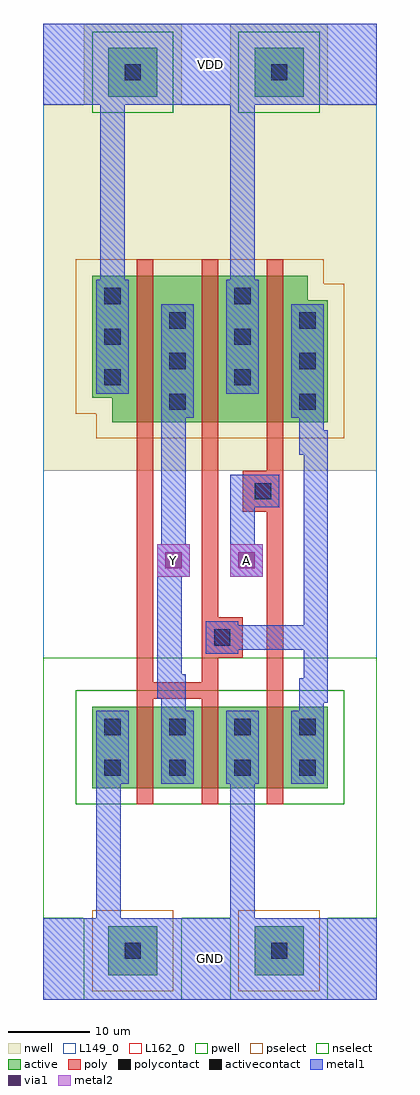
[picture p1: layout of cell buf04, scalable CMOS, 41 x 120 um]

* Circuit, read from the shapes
.subckt buf04 A GND VDD Y
M1 Y n1 GND GND nfet w=10u l=2u m=2
M2 n1 A GND GND nfet w=10u l=2u
M3 Y n1 VDD VDD pfet w=18u l=2u m=2
M4 n1 A VDD VDD pfet w=18u l=2u
.ends

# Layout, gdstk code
import gdstk
lib = gdstk.Library(unit=1e-6, precision=1e-09)
def R(c, l, rs):  # rectangles x0, y0, x1, y1
    for r in rs: c.add(gdstk.rectangle(r[:2], r[2:], *l))
def A(c, l, x, y, w, h, nx, ny, dx, dy):  # array of equal rectangles
    R(c, l, [(x+i*dx, y+j*dy, x+i*dx+w, y+j*dy+h) for i in range(nx) for j in range(ny)])
def P(c, l, *ps):  # polygons
    for p in ps: c.add(gdstk.Polygon(p, *l))
pwell = (41, 0)
nwell = (42, 0)
active = (43, 0)
pselect = (44, 0)
nselect = (45, 0)
poly = (46, 0)
polycontact = (47, 0)
activecontact = (48, 0)
metal1 = (49, 0)
via1 = (50, 0)
metal2 = (51, 0)
L149_0 = (149, 0)
L162_0 = (162, 0)

pwell_contact = lib.new_cell('pwell_contact')
R(pwell_contact, pwell, [(-6,-6,6,5)])
R(pwell_contact, active, [(-3,-3,3,3)])
R(pwell_contact, pselect, [(-5,-5,5,5)])
R(pwell_contact, activecontact, [(-1,-1,1,1)])

nwell_contact = lib.new_cell('nwell_contact')
R(nwell_contact, nwell, [(-6,-5,6,6)])
R(nwell_contact, active, [(-3,-3,3,3)])
R(nwell_contact, nselect, [(-5,-5,5,5)])
R(nwell_contact, activecontact, [(-1,-1,1,1)])

via = lib.new_cell('via')
R(via, metal1, [(-2,-2,2,2)])
R(via, via1, [(-1,-1,1,1)])
R(via, metal2, [(-2,-2,2,2)])

buf04 = lib.new_cell('buf04')
R(buf04, pwell, [(0,10,41,20), (0,10,41,42), (0,20,41,42)])
R(buf04, nwell, [(0,65,41,110), (0,95,41,110)])
P(buf04, nwell, [(2.5,65),(2.5,68),(0,68),(0,95),(38.5,95),(38.5,92),(41,92),(41,65)])
R(buf04, active, [(6,26,35,36)])
P(buf04, active, [(8.5,71),(8.5,74),(6,74),(6,89),(32.5,89),(32.5,86),(35,86),(35,71)])
P(buf04, pselect, [(6.5,69),(6.5,72),(4,72),(4,91),(34.5,91),(34.5,88),(37,88),(37,69)])
R(buf04, nselect, [(4,24,37,38)])
A(buf04, poly, 11.5, 24, 2, 2, 3, 2, 8, 12)
A(buf04, poly, 11.5, 26, 2, 10, 3, 1, 8, 0)
A(buf04, poly, 11.5, 69, 2, 2, 3, 2, 8, 20)
A(buf04, poly, 11.5, 71, 2, 18, 3, 1, 8, 0)
R(buf04, poly, [(19.5,42,24.5,47), (24.5,60,29.5,65)])
R(buf04, polycontact, [(21,43.5,23,45.5), (26,61.5,28,63.5)])
A(buf04, activecontact, 7.5, 27.5, 2, 2, 4, 2, 8, 5)
A(buf04, activecontact, 15.5, 72.5, 2, 2, 1, 3, 0, 5)
A(buf04, activecontact, 31.5, 72.5, 2, 2, 1, 3, 0, 5)
A(buf04, activecontact, 7.5, 75.5, 2, 2, 1, 3, 0, 5)
A(buf04, activecontact, 23.5, 75.5, 2, 2, 1, 3, 0, 5)
A(buf04, metal1, 6.5, 26.5, 4, 9, 4, 1, 8, 0)
R(buf04, metal1, [(0,0,41,10), (0,0,41,10), (20,42.5,24,46.5), (25,60.5,29,64.5), (14.5,71.5,18.5,85.5), (30.5,71.5,34.5,85.5), (6.5,74.5,10.5,88.5), (22.5,74.5,26.5,88.5), (0,110,41,120), (0,110,41,120)])
R(buf04, metal2, [(14,52,18,56), (23,52,27,56)])
R(buf04, L149_0, [(0,0,41,10), (0,0,41,120), (20,42.5,24,46.5), (25,60.5,29,64.5), (0,110,41,120)])
R(buf04, L162_0, [(14,52,18,56), (23,52,27,56)])
buf04.add(gdstk.FlexPath([(24.5,88.5),(24.5,110)], 3, ends="flush", simple_path=True, layer=149, datatype=0))  # L149_0
buf04.add(gdstk.FlexPath([(24.5,26.5),(24.5,10)], 3, ends="flush", simple_path=True, layer=149, datatype=0))  # L149_0
buf04.add(gdstk.FlexPath([(16,71.5),(16,54),(15.5,54),(15.5,38.5),(16,38.5),(16,35.5)], 3, ends="flush", simple_path=True, layer=149, datatype=0))  # L149_0
buf04.add(gdstk.FlexPath([(24.5,56),(24.5,64.5)], 3, ends="flush", simple_path=True, layer=149, datatype=0))  # L149_0
buf04.add(gdstk.FlexPath([(8,26.5),(8,10)], 3, ends="flush", simple_path=True, layer=149, datatype=0))  # L149_0
buf04.add(gdstk.FlexPath([(24,44.5),(32,44.5)], 3, ends="flush", simple_path=True, layer=149, datatype=0))  # L149_0
buf04.add(gdstk.FlexPath([(8.5,88.5),(8.5,110)], 3, ends="flush", simple_path=True, layer=149, datatype=0))  # L149_0
buf04.add(gdstk.FlexPath([(33,71.5),(33,68.5),(33.5,68.5),(33.5,38),(33,38),(33,35.5)], 3, ends="flush", simple_path=True, layer=149, datatype=0))  # L149_0
buf04.add(gdstk.FlexPath([(24.5,88.5),(24.5,110)], 3, ends="flush", simple_path=True, layer=49, datatype=0))  # metal1
buf04.add(gdstk.FlexPath([(24.5,26.5),(24.5,10)], 3, ends="flush", simple_path=True, layer=49, datatype=0))  # metal1
buf04.add(gdstk.FlexPath([(16,71.5),(16,54),(15.5,54),(15.5,38.5),(16,38.5),(16,35.5)], 3, ends="flush", simple_path=True, layer=49, datatype=0))  # metal1
buf04.add(gdstk.FlexPath([(24.5,56),(24.5,64.5)], 3, ends="flush", simple_path=True, layer=49, datatype=0))  # metal1
buf04.add(gdstk.FlexPath([(8,26.5),(8,10)], 3, ends="flush", simple_path=True, layer=49, datatype=0))  # metal1
buf04.add(gdstk.FlexPath([(24,44.5),(32,44.5)], 3, ends="flush", simple_path=True, layer=49, datatype=0))  # metal1
buf04.add(gdstk.FlexPath([(8.5,88.5),(8.5,110)], 3, ends="flush", simple_path=True, layer=49, datatype=0))  # metal1
buf04.add(gdstk.FlexPath([(33,71.5),(33,68.5),(33.5,68.5),(33.5,38),(33,38),(33,35.5)], 3, ends="flush", simple_path=True, layer=49, datatype=0))  # metal1
buf04.add(gdstk.FlexPath([(11.5,38),(21.5,38)], 2, ends="flush", simple_path=True, layer=46, datatype=0))  # poly
buf04.add(gdstk.FlexPath([(20.5,69),(20.5,39)], 2, ends="flush", simple_path=True, layer=46, datatype=0))  # poly
buf04.add(gdstk.FlexPath([(28.5,38),(28.5,69)], 2, ends="flush", simple_path=True, layer=46, datatype=0))  # poly
buf04.add(gdstk.FlexPath([(12.5,69),(12.5,38)], 2, ends="flush", simple_path=True, layer=46, datatype=0))  # poly
buf04.add(gdstk.Reference(pwell_contact, (29,6)))
buf04.add(gdstk.Reference(pwell_contact, (11,6)))
buf04.add(gdstk.Reference(nwell_contact, (29,114)))
buf04.add(gdstk.Reference(nwell_contact, (11,114)))
buf04.add(gdstk.Reference(via, (25,54)))
buf04.add(gdstk.Reference(via, (16,54)))
buf04.add(gdstk.Label('Y', (16,54), layer=3, texttype=0))
buf04.add(gdstk.Label('A', (25,54), layer=3, texttype=0))
buf04.add(gdstk.Label('GND', (20.5,5), layer=2, texttype=0))
buf04.add(gdstk.Label('VDD', (20.5,115), layer=2, texttype=0))

lib.write_gds('buf04.gds')
